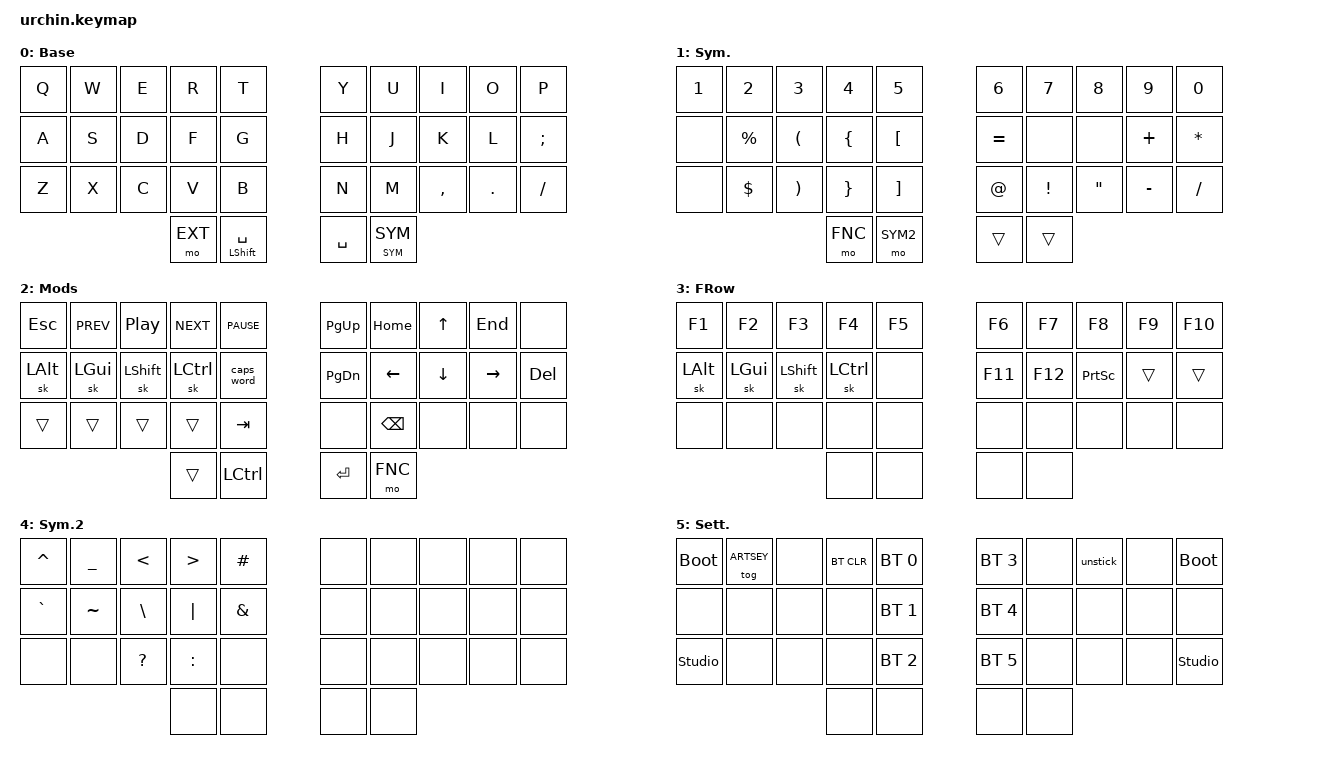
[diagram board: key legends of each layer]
/*
 * Copyright (c) 2020 duckyb
 *
 * SPDX-License-Identifier: MIT
 */

#include <behaviors.dtsi>
#include <dt-bindings/zmk/keys.h>
#include <dt-bindings/zmk/bt.h>
#include <dt-bindings/zmk/outputs.h>

// Layer definitions
#define BASE 0
#define SYM 1
#define EXT 2
#define FNC 3
#define SYM2 4
#define SETTINGS 5
// ARTSEY layer ids: must stay AFTER the layers above, because a layer's id is
// its position among the `keymap` node's children and the ARTSEY layers are
// appended by the artsey.dtsi include at the very bottom of this file.
#define ARTSEY 6
#define ARTSEY_NUMBERS 7
#define ARTSEY_SYMBOLS 8
#define ARTSEY_PAREN 9
#define ARTSEY_NAV 10
#define ARTSEY_BT 11
#define ARTSEY_CUSTOM 12
// -----------------

#define COMBO_TERM_NORMAL 22
#define COMBO_TERM_LONG 51
#define COMBO_TERM_EXTRALONG 123

// ------

/ {
	behaviors {
		// Enables holding the first mod-tap key
		// by performing a tap-release-hold sequence.
		// To use it: "&qt KEYCODE1 KEYCODE2"
		qt: quick_tap {
			compatible = "zmk,behavior-hold-tap";
			label = "QUICK_TAP";
			#binding-cells = <2>;
			flavor = "hold-preferred";
			tapping-term-ms = <200>;
			quick-tap-ms = <200>;
			bindings = <&kp>, <&kp>;
		};

		// Sticky layer that drops on the next key PRESS instead of
		// the next key release. The default &sl keeps the layer live
		// until the next key is released, so a cross-hand roll off a
		// symbol (' then s) still lands on the symbol layer and gave
		// '% instead of 's.
		sl_q: sticky_layer_quick {
			compatible = "zmk,behavior-sticky-key";
			label = "STICKY_LAYER_QUICK";
			#binding-cells = <1>;
			bindings = <&mo>;
			release-after-ms = <1000>;
			quick-release;
			ignore-modifiers;
		};

		// Sticky layer that only arms once the key is RELEASED.
		// A bare "&sl" binds "&mo", so the layer is live while the
		// thumb is still down and fast rolls leak into it
		// (typing ' then s produced '% because SYM pos 11 is %).
		// Wrapping it in a hold-tap makes the layer inert until the
		// tap resolves; keys pressed in the meantime are captured
		// and replayed afterwards, so the roll comes out in order.
		// Hold past the tapping term still gives momentary access.
		// To use it: "&slt LAYER LAYER"
		slt: sticky_layer_tap {
			compatible = "zmk,behavior-hold-tap";
			label = "STICKY_LAYER_TAP";
			#binding-cells = <2>;
			flavor = "tap-preferred";
			tapping-term-ms = <250>;
			bindings = <&mo>, <&sl_q>;
		};
	};

	macros {
		// sometimes my device thinks a modifier is being held down
		// pressing all modifiers fixes it.
		unstick: unstick {
			label = "ZM_unstick";
			compatible = "zmk,behavior-macro";
			#binding-cells = <0>;
			bindings = <&kp LSHIFT &kp RSHIFT &kp LCTRL &kp RCTRL &kp LALT &kp RALT &kp LGUI &kp RGUI>;
		};
	};

	combos {
		compatible = "zmk,combos";
		// internal-left & external-right thumb keys
		combo_sym2 {
			timeout-ms = <COMBO_TERM_NORMAL>;
			key-positions = <31 33>;
			bindings = <&mo SYM2>;
			// Gated to the normal layers so it cannot fire while the
			// ARTSEY layer is up (position 31 is SPACE there).
			layers = <BASE SYM EXT FNC SYM2 SETTINGS>;
		};
		// both left thumb keys
		combo_settings {
			timeout-ms = <COMBO_TERM_NORMAL>;
			key-positions = <30 31>;
			bindings = <&mo SETTINGS>;
			layers = <BASE SYM EXT FNC SYM2 SETTINGS>;
		};
		// Base 
		// q w - ESC
		base_esc {
			timeout-ms = <COMBO_TERM_EXTRALONG>;
			key-positions = <0 1>;
			bindings = <&kp ESC>;
			layers = <BASE>;
		};

		// q w e - Tab
		base_tab {
			// 3 keys inside 22ms is barely hittable; LONG makes it reliable
			timeout-ms = <COMBO_TERM_LONG>;
			key-positions = <0 1 2>;
			bindings = <&kp TAB>;
			layers = <BASE>;
		};

    // k; - Backspace
		base_backspace {
			timeout-ms = <COMBO_TERM_LONG>;
			key-positions = <17 19>;
			bindings = <&kp BSPC>;
			layers = <BASE>;
		};

    // l ; - Apostrophe
		// Mirrors QWERTY, where ' sits just past ;. Neither key rolls
		// into the other in prose, so a long window is safe here and
		// keeps the most common punctuation off the SYM layer.
		base_apostrophe {
			timeout-ms = <COMBO_TERM_EXTRALONG>;
			key-positions = <18 19>;
			bindings = <&kp SINGLE_QUOTE>;
			layers = <BASE>;
		};

    // , . - Enter
		base_enter {
			timeout-ms = <COMBO_TERM_EXTRALONG>;
			key-positions = <27 28>;
			bindings = <&kp ENTER>;
			layers = <BASE>;
		};
};

	keymap {
		compatible = "zmk,keymap";
		// Base alpha layer
		default_layer {
			label = "Base";
			bindings = <
			&kp Q &kp W &kp E &kp R &kp T           &kp Y &kp U  &kp I     &kp O   &kp P 
			&kp A &kp S &kp D &kp F &kp G           &kp H &kp J  &kp K     &kp L &kp SEMICOLON
			&kp Z &kp X &kp C &kp V &kp B           &kp N &kp M  &kp COMMA &kp DOT &kp SLASH
							&mo EXT &qt LSHIFT SPACE           &kp SPACE &slt SYM SYM
			>;
		};

		// Numbers and high frequency symbols
		sym_layer {
			label = "Sym.";
			bindings = <
			&kp N1 &kp N2 &kp N3 &kp N4 &kp N5		                                    							 &kp N6 &kp N7 &kp N8 &kp N9 &kp N0
			&none &kp PERCENT &kp LEFT_PARENTHESIS &kp LEFT_BRACE &kp LEFT_BRACKET 	    		 &kp EQUAL  &none  &none &kp PLUS &kp ASTERISK
			&none &kp DOLLAR &kp RIGHT_PARENTHESIS &kp RIGHT_BRACE &kp RIGHT_BRACKET      &kp AT_SIGN &kp EXCLAMATION &kp DOUBLE_QUOTES &kp MINUS &kp SLASH 
														&mo FNC  &mo SYM2       &trans &trans
			>;
		};

		// Main modifiers and arrow keys
		ext_layer {
			label = "Mods";
			bindings = <
			&kp ESC  &kp C_PREV &kp C_PP  &kp C_NEXT  &kp C_PAUSE    	&kp PG_UP  &kp HOME &kp UP &kp END &none
			&sk LALT &sk LGUI  &sk LSHIFT  &sk LCTRL  &caps_word 		&kp PG_DN &kp LEFT  &kp DOWN  &kp RIGHT   &kp DEL
			 &trans  &trans &trans &trans &kp TAB           &none &kp BSPC &none &none  &none
																		&trans &kp LCTRL    &kp ENTER  &mo FNC 
			>;
		};

		// Function keys with modifiers
		fnc_layer {
			label = "FRow";
			bindings = <
			&kp F1 &kp F2 &kp F3 &kp F4 &kp F5                  &kp F6 &kp F7 &kp F8 &kp F9 &kp F10 
			&sk LALT &sk LGUI &sk LSHIFT &sk LCTRL &none     &kp F11 &kp F12  &kp PRINTSCREEN &trans &trans
			&none &none &none &none &none				          &none &none &none &none &none 
							  &none &none              &none &none  
			>;
		};

		// Low frequency symbols.
		symbols_2_layer {
			label = "Sym.2";
			bindings = <
			&kp CARET &kp UNDERSCORE &kp LESS_THAN &kp GREATER_THAN &kp HASH    &none &none &none &none &none
			&kp GRAVE &kp TILDE &kp BACKSLASH &kp PIPE &kp AMPERSAND              &none &none &none &none &none
			&none 			&none 			 &kp QUESTION &kp COLON &none				  &none &none &none &none &none
																	&none &none        	&none &none 
			>;
		};

		// Used to change the keyboard's settings.
		settings_layer {
				label = "Sett.";
				bindings = <
				&bootloader &tog ARTSEY &none &bt BT_CLR &bt BT_SEL 0          &bt BT_SEL 3 &none &unstick &none &bootloader 
				&none &none &none &none      &bt BT_SEL 1 						  &bt BT_SEL 4 &none &none &none &none
				&studio_unlock &none &none &none      &bt BT_SEL 2               &bt BT_SEL 5 &none &none &none &studio_unlock
														&none &none                         &none &none 
				>;
		};

	};
};

/*
 * ARTSEY one-handed typing mode (layers ARTSEY..ARTSEY_CUSTOM, ids 6-12).
 * The layer order above is what fixes those ids: the included file appends its
 * `keymap` children after the six layers defined above.
 *
 * Toggle it from the SETTINGS layer, position 1 (top row, second key).
 * While it is up, the 8-key ARTSEY combos take over the left half.
 */
#include "artsey.dtsi"
